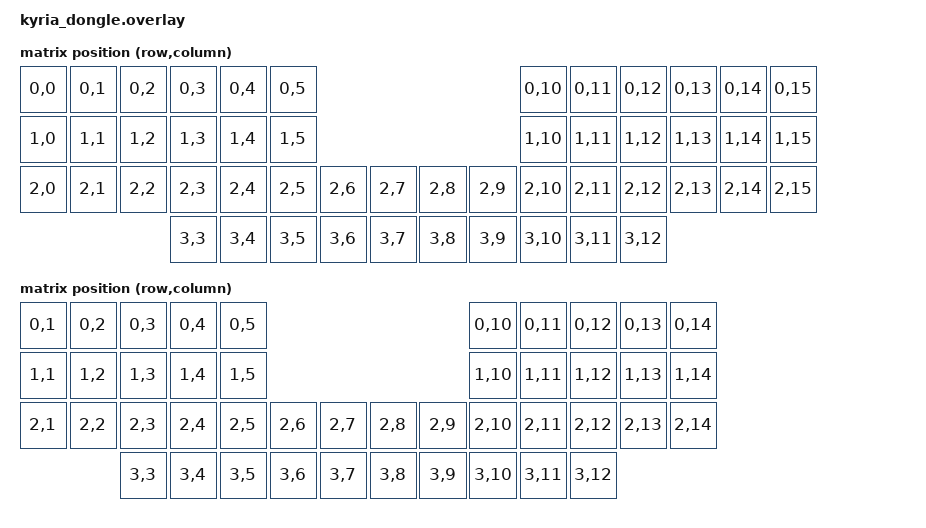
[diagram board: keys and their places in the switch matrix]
/*
 * Copyright (c) 2022 The ZMK Contributors
 * SPDX-License-Identifier: MIT
 *
 * Transforms and sensor ordering match the Kyria v1 shield at the ZMK
 * revision in config/west.yml. Keep these in sync when updating ZMK.
 */

#include <dt-bindings/zmk/matrix_transform.h>
#include "kyria-layouts.dtsi"

&zephyr_udc0 {
    battery_usb_uart: battery_usb_uart {
        compatible = "zephyr,cdc-acm-uart";
    };
};

&splitkb_kyria_6col_layout {
    transform = <&default_transform>;
};

&splitkb_kyria_5col_layout {
    transform = <&five_column_transform>;
};

/ {
    chosen {
        zmk,kscan = &mock_kscan;
        zmk,physical-layout = &splitkb_kyria_6col_layout;
    };

    mock_kscan: mock_kscan {
        compatible = "zmk,kscan-mock";
        columns = <0>;
        rows = <0>;
        events = <0>;
    };

    default_transform: keymap_transform_0 {
        compatible = "zmk,matrix-transform";
        columns = <16>;
        rows = <4>;
        map = <
RC(0,0) RC(0,1) RC(0,2) RC(0,3) RC(0,4) RC(0,5)                                 RC(0,10) RC(0,11) RC(0,12) RC(0,13) RC(0,14) RC(0,15)
RC(1,0) RC(1,1) RC(1,2) RC(1,3) RC(1,4) RC(1,5)                                 RC(1,10) RC(1,11) RC(1,12) RC(1,13) RC(1,14) RC(1,15)
RC(2,0) RC(2,1) RC(2,2) RC(2,3) RC(2,4) RC(2,5) RC(2,6) RC(2,7) RC(2,8) RC(2,9) RC(2,10) RC(2,11) RC(2,12) RC(2,13) RC(2,14) RC(2,15)
                        RC(3,3) RC(3,4) RC(3,5) RC(3,6) RC(3,7) RC(3,8) RC(3,9) RC(3,10) RC(3,11) RC(3,12)
        >;
    };

    five_column_transform: keymap_transform_1 {
        compatible = "zmk,matrix-transform";
        columns = <14>;
        rows = <4>;
        map = <
RC(0,1) RC(0,2) RC(0,3) RC(0,4) RC(0,5)                                 RC(0,10) RC(0,11) RC(0,12) RC(0,13) RC(0,14)
RC(1,1) RC(1,2) RC(1,3) RC(1,4) RC(1,5)                                 RC(1,10) RC(1,11) RC(1,12) RC(1,13) RC(1,14)
RC(2,1) RC(2,2) RC(2,3) RC(2,4) RC(2,5) RC(2,6) RC(2,7) RC(2,8) RC(2,9) RC(2,10) RC(2,11) RC(2,12) RC(2,13) RC(2,14)
                RC(3,3) RC(3,4) RC(3,5) RC(3,6) RC(3,7) RC(3,8) RC(3,9) RC(3,10) RC(3,11) RC(3,12)
        >;
    };

    // Encoders are on the peripherals. Retain both slots for sensor-bindings.
    left_encoder: encoder_left {
        compatible = "alps,ec11";
        steps = <80>;
        status = "disabled";
    };

    right_encoder: encoder_right {
        compatible = "alps,ec11";
        steps = <80>;
        status = "disabled";
    };

    sensors: sensors {
        compatible = "zmk,keymap-sensors";
        sensors = <&left_encoder &right_encoder>;
        triggers-per-rotation = <20>;
    };
};
